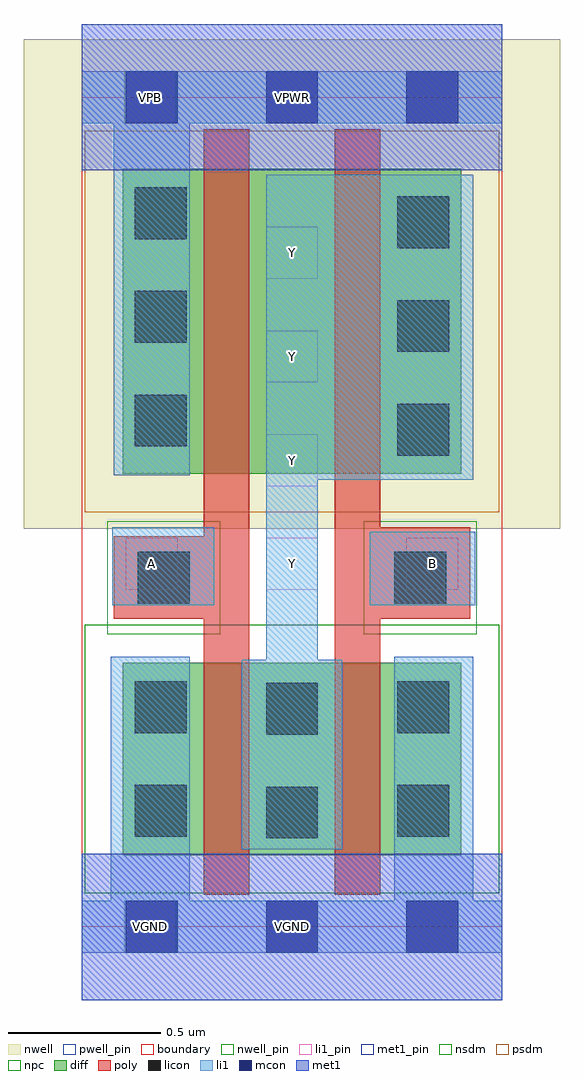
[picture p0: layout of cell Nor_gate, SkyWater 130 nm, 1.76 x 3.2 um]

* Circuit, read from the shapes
.subckt Nor_gate A B VGND VNB VPB VPWR Y
XM1 Y A VGND VNB sky130_fd_pr__nfet_01v8 w=0.63 l=0.15
XM2 VGND B Y VNB sky130_fd_pr__nfet_01v8 w=0.63 l=0.15
XM3 n1 A VPWR VPB sky130_fd_pr__pfet_01v8 w=1 l=0.15
XM4 Y B n1 VPB sky130_fd_pr__pfet_01v8 w=1 l=0.15
.ends

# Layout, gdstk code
import gdstk
lib = gdstk.Library(unit=1e-6, precision=1e-09)
def R(c, l, rs):  # rectangles x0, y0, x1, y1
    for r in rs: c.add(gdstk.rectangle(r[:2], r[2:], *l))
def A(c, l, x, y, w, h, nx, ny, dx, dy):  # array of equal rectangles
    R(c, l, [(x+i*dx, y+j*dy, x+i*dx+w, y+j*dy+h) for i in range(nx) for j in range(ny)])
nwell_pin = (64, 16)
nwell = (64, 20)
diff = (65, 20)
poly = (66, 20)
licon = (66, 44)
li1_pin = (67, 16)
li1 = (67, 20)
mcon = (67, 44)
met1_pin = (68, 16)
met1 = (68, 20)
nsdm = (93, 44)
psdm = (94, 20)
npc = (95, 20)
pwell_pin = (122, 16)
boundary = (235, 4)

nor_gate = lib.new_cell('Nor_gate')
R(nor_gate, nwell_pin, [(0.14,2.635,0.31,2.805)])
R(nor_gate, nwell, [(-0.19,1.305,1.57,2.91)])
R(nor_gate, diff, [(0.135,0.235,1.245,0.865), (0.135,1.485,1.245,2.485)])
R(nor_gate, poly, [(0.4,0.105,0.55,1.01), (0.83,0.105,0.98,1.01), (0.105,1.01,0.55,1.28), (0.83,1.01,1.275,1.31), (0.4,1.28,0.55,2.615), (0.83,1.31,0.98,2.615)])
A(nor_gate, licon, 1.035, 1.545, 0.17, 0.17, 1, 3, 0, 0.34)
A(nor_gate, licon, 0.175, 1.575, 0.17, 0.17, 1, 3, 0, 0.34)
R(nor_gate, licon, [(0.605,0.29,0.775,0.46), (0.175,0.295,0.345,0.465), (1.035,0.295,1.205,0.465), (0.605,0.63,0.775,0.8), (0.175,0.635,0.345,0.805), (1.035,0.635,1.205,0.805), (0.185,1.06,0.355,1.23), (1.025,1.06,1.195,1.23)])
A(nor_gate, li1_pin, 0.145, 1.105, 0.17, 0.17, 3, 1, 0.46, 0)
A(nor_gate, li1_pin, 0.605, 1.445, 0.17, 0.17, 1, 3, 0, 0.34)
R(nor_gate, li1, [(0,-0.085,1.38,0.085), (0.095,0.085,0.355,0.885), (1.025,0.085,1.285,0.885), (0.525,0.255,0.855,0.875), (0.605,0.875,0.775,1.465), (0.1,1.055,0.435,1.31), (0.945,1.055,1.29,1.295), (0.605,1.465,1.285,2.465), (0.105,1.48,0.355,2.635), (0,2.635,1.38,2.805)])
A(nor_gate, mcon, 0.145, -0.085, 0.17, 0.17, 3, 2, 0.46, 2.72)
R(nor_gate, met1_pin, [(0,-0.24,1.38,0.24), (0.14,-0.085,0.31,0.085), (0,2.48,1.38,2.96), (0.14,2.635,0.31,2.805)])
R(nor_gate, met1, [(0,-0.24,1.38,0.24), (0,2.48,1.38,2.96)])
R(nor_gate, nsdm, [(0.01,0.11,1.37,0.99)])
R(nor_gate, psdm, [(0.01,1.36,1.37,2.61)])
R(nor_gate, npc, [(0.085,0.96,0.455,1.33), (0.925,0.96,1.295,1.33)])
R(nor_gate, pwell_pin, [(0.14,-0.085,0.31,0.085)])
R(nor_gate, boundary, [(0,0,1.38,2.72)])
nor_gate.add(gdstk.Label('VGND', (0.225,0), layer=68, texttype=5))
nor_gate.add(gdstk.Label('VGND', (0.69,0), layer=68, texttype=5))
nor_gate.add(gdstk.Label('VNB', (0.225,0), layer=64, texttype=59))
nor_gate.add(gdstk.Label('VPB', (0.225,2.72), layer=64, texttype=5))
nor_gate.add(gdstk.Label('VPWR', (0.69,2.72), layer=68, texttype=5))
nor_gate.add(gdstk.Label('VPWR', (0.225,2.72), layer=68, texttype=5))
nor_gate.add(gdstk.Label('A', (0.23,1.19), layer=67, texttype=5))
nor_gate.add(gdstk.Label('B', (1.15,1.19), layer=67, texttype=5))
nor_gate.add(gdstk.Label('Y', (0.69,2.21), layer=67, texttype=5))
nor_gate.add(gdstk.Label('Y', (0.69,1.19), layer=67, texttype=5))
nor_gate.add(gdstk.Label('Y', (0.69,1.87), layer=67, texttype=5))
nor_gate.add(gdstk.Label('Y', (0.69,1.53), layer=67, texttype=5))

lib.write_gds('Nor_gate.gds')
